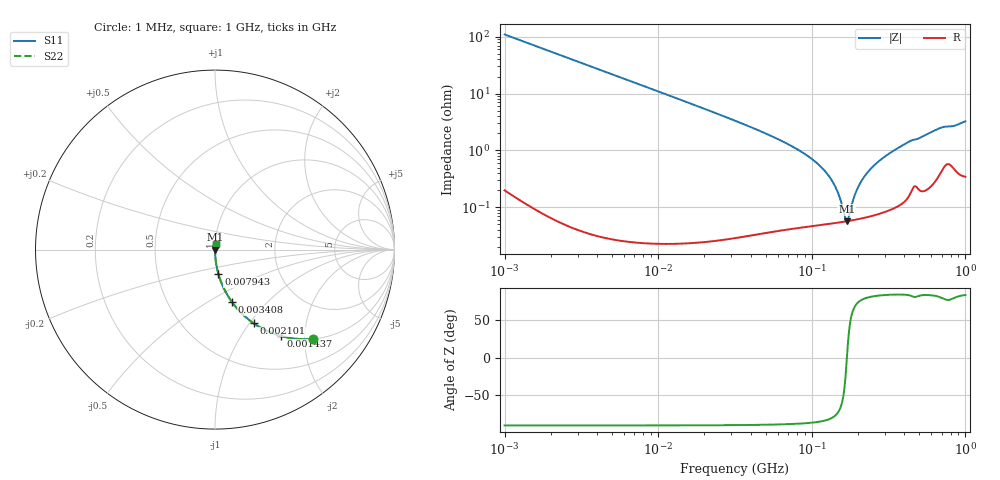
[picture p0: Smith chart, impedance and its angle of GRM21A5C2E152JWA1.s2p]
!Murata Part Number: GRM21A5C2E152JWA1
!These Parameters are Measured in Series Mode Connection
!Data Generated on Mar 30, 2021
!  o--ll--o
!Port1  Port2
!  o------o
!Operation Temp=25[degC], DC Bias Voltage=0[V]
!Freq. Start=1000[kHz] Stop=1000[MHz] 401[Steps]
# Hz S RI R 50
!Freq.(Hz) S11(Real) S11(Imag) S21(Real) S21(Imag) S12(Real) S12(Imag) S22(Real) S22(Imag)
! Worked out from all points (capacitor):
!   401 points, 1 MHz to 1 GHz, reference 50 ohm
!   read as one part in series: C = 1.45 nF near 1.035 MHz
!   lowest |Z| = 56.8 mohm at 168.8 MHz (marker M1)
!   series resonance near 169.2 MHz, so ESL is about 610 pH
!   S11 on the Smith chart (normalised r, x): 1 MHz: 1.00, -2.20; 1.437 MHz: 1.00, -1.53; 2.101 MHz: 1.00, -1.04; 3.408 MHz: 1.00, -0.64; 7.943 MHz: 1.00, -0.28; 1 GHz: 1.01, +0.06
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1000000  0.5464 -0.4969  0.4536 0.4969  0.4536 0.4969  0.5464 -0.4969
1437143  0.3687 -0.4817  0.6313 0.4817  0.6313 0.4817  0.3687 -0.4817
2101358  0.2146 -0.41  0.7854 0.41  0.7854 0.41  0.2146 -0.41
3180534  0.1067 -0.3081  0.8933 0.3081  0.8933 0.3081  0.1067 -0.3081
3408003  0.0942 -0.2916  0.9058 0.2916  0.9058 0.2916  0.0942 -0.2916
7943282  0.0189 -0.1352  0.9811 0.1352  0.9811 0.1352  0.0189 -0.1352
1.01158e7  0.0118 -0.1068  0.9882 0.1068  0.9882 0.1068  0.0118 -0.1068
3.162278e7  0.0014 -0.0333  0.9986 0.0333  0.9986 0.0333  0.0014 -0.0333
6.531306e7  0.000597 -0.0142  0.9994 0.0142  0.9994 0.0142  0.000597 -0.0142
1.005773e8  0.000514 -0.00699  0.9995 0.00699  0.9995 0.00699  0.000514 -0.00699
1.195364e8  0.000515 -0.00455  0.9995 0.00455  0.9995 0.00455  0.000515 -0.00455
1.372461e8  0.000528 -0.00271  0.9995 0.00271  0.9995 0.00271  0.000528 -0.00271
1.470618e8  0.000538 -0.00181  0.9995 0.00181  0.9995 0.00181  0.000538 -0.00181
1.631173e8  0.000558 -0.00047  0.9994 0.00047  0.9994 0.00047  0.000558 -0.00047
1.688496e8  0.000567 -2.65e-05  0.9994 2.65e-05  0.9994 2.65e-05  0.000567 -2.65e-05
1.747833e8  0.000576 0.000417  0.9994 -0.000417  0.9994 -0.000417  0.000576 0.000417
1.938653e8  0.00061 0.00175  0.9994 -0.00175  0.9994 -0.00175  0.00061 0.00175
2.150305e8  0.000653 0.00311  0.9993 -0.00311  0.9993 -0.00311  0.000653 0.00311
2.555642e8  0.000752 0.00546  0.9992 -0.00546  0.9992 -0.00546  0.000752 0.00546
3.198895e8  0.00096 0.0088  0.999 -0.0088  0.999 -0.0088  0.00096 0.0088
6.722023e8  0.00412 0.0238  0.9959 -0.0238  0.9959 -0.0238  0.00412 0.0238
1e9  0.00448 0.0322  0.9955 -0.0322  0.9955 -0.0322  0.00448 0.0322
